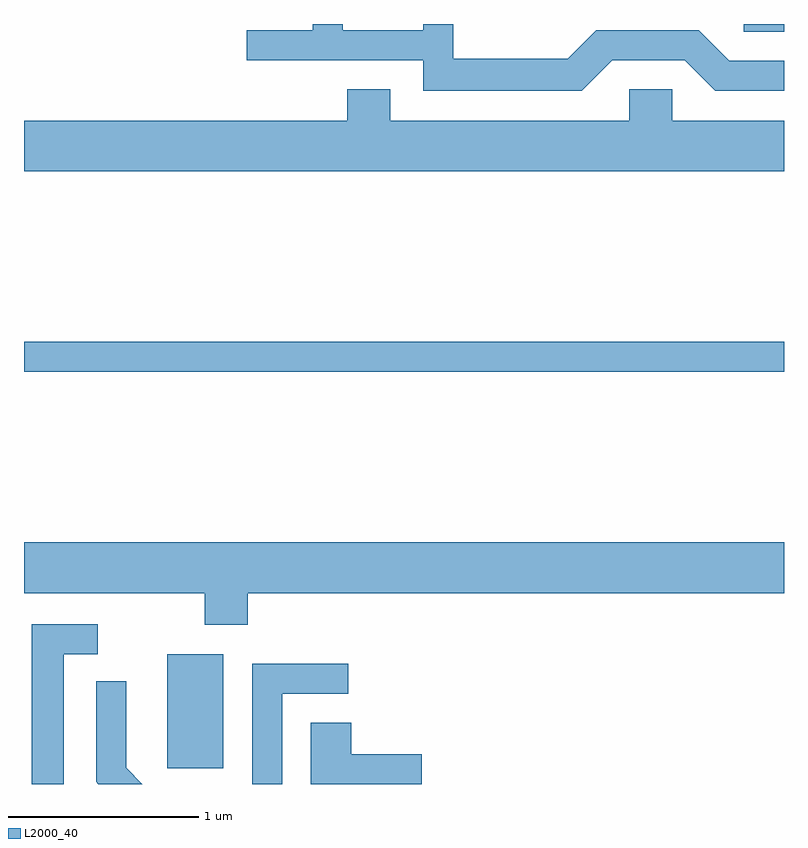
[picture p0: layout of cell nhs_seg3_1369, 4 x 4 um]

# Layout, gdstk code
import gdstk
lib = gdstk.Library(unit=1e-6, precision=1e-09)
def R(c, l, rs):  # rectangles x0, y0, x1, y1
    for r in rs: c.add(gdstk.rectangle(r[:2], r[2:], *l))
def P(c, l, *ps):  # polygons
    for p in ps: c.add(gdstk.Polygon(p, *l))
L2000_40 = (2000, 40)

nhs_seg3_1369 = lib.new_cell('nhs_seg3_1369')
R(nhs_seg3_1369, L2000_40, [(226.366,1133.976,226.659,1134.574), (225.611,1136.061,229.611,1136.219), (229.398,1137.851,229.611,1137.892)])
P(nhs_seg3_1369, L2000_40, [(228.707,1137.701),(229.089,1137.701),(229.249,1137.541),(229.611,1137.541),(229.611,1137.699),(229.322,1137.699),(229.162,1137.859),(228.624,1137.859),(228.474,1137.709),(227.869,1137.709),(227.869,1137.892),(227.711,1137.892),(227.711,1137.859),(227.289,1137.859),(227.289,1137.892),(227.131,1137.892),(227.131,1137.859),(226.783,1137.859),(226.783,1137.701),(227.711,1137.701),(227.711,1137.541),(228.547,1137.541)],
  [(229.611,1137.384),(229.024,1137.384),(229.024,1137.549),(228.796,1137.549),(228.796,1137.384),(227.539,1137.384),(227.539,1137.549),(227.311,1137.549),(227.311,1137.384),(225.611,1137.384),(225.611,1137.116),(229.611,1137.116)],
  [(226.789,1134.896),(229.611,1134.896),(229.611,1135.164),(225.611,1135.164),(225.611,1134.896),(226.561,1134.896),(226.561,1134.731),(226.789,1134.731)],
  [(225.819,1134.576),(225.998,1134.576),(225.998,1134.734),(225.651,1134.734),(225.651,1133.892),(225.819,1133.892)],
  [(226.969,1134.366),(227.318,1134.366),(227.318,1134.524),(226.811,1134.524),(226.811,1133.892),(226.969,1133.892)],
  [(226.149,1133.977),(226.149,1134.433),(225.991,1134.433),(225.991,1133.904),(226.003,1133.892),(226.234,1133.892)],
  [(227.704,1134.049),(227.334,1134.049),(227.334,1134.214),(227.121,1134.214),(227.121,1133.892),(227.704,1133.892)])

lib.write_gds('nhs_seg3_1369.gds')
